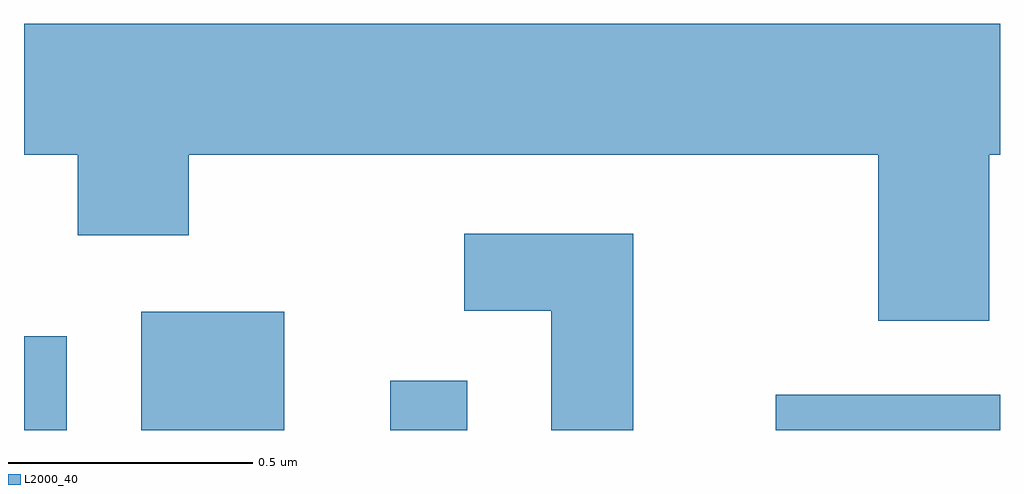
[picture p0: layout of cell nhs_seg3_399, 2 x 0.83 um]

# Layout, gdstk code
import gdstk
lib = gdstk.Library(unit=1e-6, precision=1e-09)
def R(c, l, rs):  # rectangles x0, y0, x1, y1
    for r in rs: c.add(gdstk.rectangle(r[:2], r[2:], *l))
def P(c, l, *ps):  # polygons
    for p in ps: c.add(gdstk.Polygon(p, *l))
L2000_40 = (2000, 40)

nhs_seg3_399 = lib.new_cell('nhs_seg3_399')
R(nhs_seg3_399, L2000_40, [(187.611,1240.892,187.699,1241.084), (187.851,1240.892,188.144,1241.134), (188.361,1240.892,188.519,1240.993), (189.151,1240.892,189.611,1240.964)])
P(nhs_seg3_399, L2000_40, [(189.589,1241.456),(189.611,1241.456),(189.611,1241.724),(187.611,1241.724),(187.611,1241.456),(187.721,1241.456),(187.721,1241.291),(187.949,1241.291),(187.949,1241.456),(189.361,1241.456),(189.361,1241.116),(189.589,1241.116)],
  [(188.859,1241.294),(188.513,1241.294),(188.513,1241.136),(188.691,1241.136),(188.691,1240.892),(188.859,1240.892)])

lib.write_gds('nhs_seg3_399.gds')
